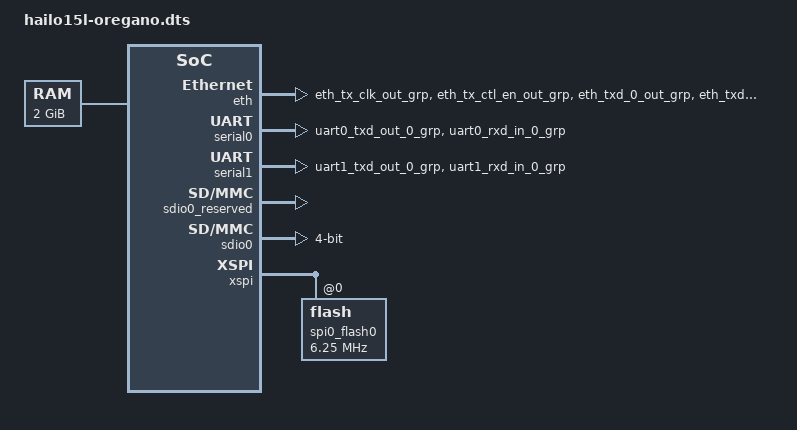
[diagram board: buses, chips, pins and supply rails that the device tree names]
// SPDX-License-Identifier:     GPL-2.0
/*
 * Copyright (c) 2019-2026 Hailo Technologies Ltd. All rights reserved.
 */

/dts-v1/;
#include "hailo15l-base.dtsi"

/ {
    memory {
        device_type = "memory";
        reg = <0x00000000 0x80000000 0x00000000 0x80000000>;
    };
};

&pinctrl {
    pinctrl_eth_tx_clk: eth_tx_clk {
        function = "eth_tx_clk_out";
        groups = "eth_tx_clk_out_grp";
        drive-strength = <2>;
    };

    pinctrl_eth_tx_ctl_en: eth_tx_ctl_en {
        function = "eth_tx_ctl_en_out";
        groups = "eth_tx_ctl_en_out_grp";
        drive-strength = <2>;
    };

    pinctrl_eth_txd_0: eth_txd_0 {
        function = "eth_txd_0_out";
        groups = "eth_txd_0_out_grp";
        drive-strength = <2>;
    };

    pinctrl_eth_txd_1: eth_txd_1 {
        function = "eth_txd_1_out";
        groups = "eth_txd_1_out_grp";
        drive-strength = <2>;
    };

    pinctrl_eth_txd_2: eth_txd_2 {
        function = "eth_txd_2_out";
        groups = "eth_txd_2_out_grp";
        drive-strength = <2>;
    };

    pinctrl_eth_txd_3: eth_txd_3 {
        function = "eth_txd_3_out";
        groups = "eth_txd_3_out_grp";
        drive-strength = <2>;
    };

    pinctrl_uart0_rxd: uart0_rxd {
        function = "uart0_rxd_in";
        groups = "uart0_rxd_in_0_grp";
    };

    pinctrl_uart0_txd: uart0_txd {
        function = "uart0_txd_out";
        groups = "uart0_txd_out_0_grp";
    };

    pinctrl_uart1_rxd: uart1_rxd {
        function = "uart1_rxd_in";
        groups = "uart1_rxd_in_0_grp";
    };

    pinctrl_uart1_txd: uart1_txd {
        function = "uart1_txd_out";
        groups = "uart1_txd_out_0_grp";
    };
};

&eth {
    status = "okay";
    pinctrl-names = "default";
    pinctrl-0 = <&pinctrl_eth_tx_clk>,
                <&pinctrl_eth_tx_ctl_en>,
                <&pinctrl_eth_txd_0>,
                <&pinctrl_eth_txd_1>,
                <&pinctrl_eth_txd_2>,
                <&pinctrl_eth_txd_3>;
};

&serial0 {
    status = "okay";
    pinctrl-names = "default";
    pinctrl-0 = <&pinctrl_uart0_txd>, <&pinctrl_uart0_rxd>;
};

&serial1 {
    status = "okay";
    pinctrl-names = "default";
    pinctrl-0 = <&pinctrl_uart1_txd>, <&pinctrl_uart1_rxd>;
};

&sdio0_reserved {
    status = "okay";
};
&sdio0 {
    status = "okay";
    sdhci-caps = <0 0x01000000>; // Force VOLT33 capability
    bus-width = <4>;

    phy-config {
            card-is-emmc = <0x0>;
            cmd-pad-values = <0x1 0x3 0x1 0x1>; // txslew_ctrl_n, txslew_ctrl_p, weakpull_enable, rxsel
            dat-pad-values = <0x1 0x3 0x1 0x1>; // txslew_ctrl_n, txslew_ctrl_p, weakpull_enable, rxsel
            rst-pad-values = <0x1 0x3 0x1 0x1>; // txslew_ctrl_n, txslew_ctrl_p, weakpull_enable, rxsel
            clk-pad-values = <0x1 0x3 0x0 0x1>; // txslew_ctrl_n, txslew_ctrl_p, weakpull_enable, rxsel
            sdclkdl-cnfg = <0x1 0x7F>; //extdly_en, cckdl_dc
            drive-strength = <0x9 0x8>; //pad_sp, pad_sn
    };
};

&gp_vdma {
    status = "disabled";
};

&xspi {
    status = "okay";

    spi0_flash0: flash@0 {
        /* values for MT25QU01G */
        spi-max-frequency = <6250000>; /* 90Mhz in DTR, 166Mhz in STR */
        cdns,read-delay = <7>;
        cdns,tshsl-ns = <30>;
        cdns,tsd2d-ns = <30>;
        cdns,tchsh-ns = <5>;
        cdns,tslch-ns = <3>;
    };
};


/delete-node/ &cpu_1;
/delete-node/ &cpu_2;
/delete-node/ &cpu_3;
